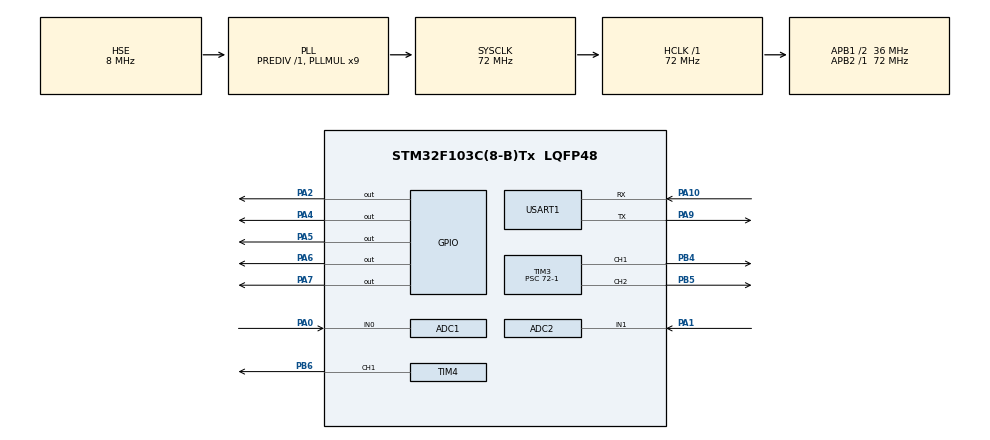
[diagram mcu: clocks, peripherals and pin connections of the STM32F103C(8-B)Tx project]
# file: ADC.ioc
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ADC1.Channel-0\#ChannelRegularConversion=ADC_CHANNEL_0
ADC1.NbrOfConversionFlag=1
ADC1.Rank-0\#ChannelRegularConversion=1
ADC1.SamplingTime-0\#ChannelRegularConversion=ADC_SAMPLETIME_1CYCLE_5
ADC1.master=1
ADC2.Channel-0\#ChannelRegularConversion=ADC_CHANNEL_1
ADC2.NbrOfConversionFlag=1
ADC2.Rank-0\#ChannelRegularConversion=1
ADC2.SamplingTime-0\#ChannelRegularConversion=ADC_SAMPLETIME_1CYCLE_5
Mcu.Family=STM32F1
Mcu.Name=STM32F103C(8-B)Tx
Mcu.Package=LQFP48
NVIC.PriorityGroup=NVIC_PRIORITYGROUP_4
NVIC.TIM2_IRQn=true\:0\:0\:false\:false\:true\:true\:true\:true
NVIC.TIM3_IRQn=true\:0\:0\:false\:false\:true\:true\:true\:true
PA0-WKUP.Signal=ADCx_IN0
PA1.Signal=ADCx_IN1
PA10.Mode=Asynchronous
PA10.Signal=USART1_RX
PA13.Mode=Serial_Wire
PA13.Signal=SYS_JTMS-SWDIO
PA14.Mode=Serial_Wire
PA14.Signal=SYS_JTCK-SWCLK
PA2.PinState=GPIO_PIN_SET
PA2.Signal=GPIO_Output
PA4.PinState=GPIO_PIN_SET
PA4.Signal=GPIO_Output
PA5.PinState=GPIO_PIN_SET
PA5.Signal=GPIO_Output
PA6.PinState=GPIO_PIN_SET
PA6.Signal=GPIO_Output
PA7.PinState=GPIO_PIN_SET
PA7.Signal=GPIO_Output
PA9.Mode=Asynchronous
PA9.Signal=USART1_TX
PB4.Signal=S_TIM3_CH1
PB5.Signal=S_TIM3_CH2
PB6.Signal=S_TIM4_CH1
PD0-OSC_IN.Mode=HSE-External-Oscillator
PD0-OSC_IN.Signal=RCC_OSC_IN
PD1-OSC_OUT.Mode=HSE-External-Oscillator
PD1-OSC_OUT.Signal=RCC_OSC_OUT
ProjectManager.HeapSize=0x200
ProjectManager.StackSize=0x400
ProjectManager.TargetToolchain=MDK-ARM V5.32
RCC.ADCPresc=RCC_ADCPCLK2_DIV6
RCC.AHBFreq_Value=72000000
RCC.APB1CLKDivider=RCC_HCLK_DIV2
RCC.APB1Freq_Value=36000000
RCC.APB1TimFreq_Value=72000000
RCC.APB2Freq_Value=72000000
RCC.APB2TimFreq_Value=72000000
RCC.HCLKFreq_Value=72000000
RCC.PLLMUL=RCC_PLL_MUL9
RCC.PLLSourceVirtual=RCC_PLLSOURCE_HSE
RCC.SYSCLKFreq_VALUE=72000000
RCC.SYSCLKSource=RCC_SYSCLKSOURCE_PLLCLK
RCC.USBFreq_Value=72000000
SH.ADCx_IN0.0=ADC1_IN0,IN0
SH.ADCx_IN1.0=ADC2_IN1,IN1
SH.S_TIM3_CH1.0=TIM3_CH1,PWM Generation1 CH1
SH.S_TIM3_CH2.0=TIM3_CH2,PWM Generation2 CH2
SH.S_TIM4_CH1.0=TIM4_CH1,PWM Generation1 CH1
TIM2.Period=800-1
TIM2.Prescaler=72-1
TIM3.Channel-PWM\ Generation1\ CH1=TIM_CHANNEL_1
TIM3.Channel-PWM\ Generation2\ CH2=TIM_CHANNEL_2
TIM3.Period=800-1
TIM3.Prescaler=72-1
TIM4.Channel-PWM\ Generation1\ CH1=TIM_CHANNEL_1
TIM4.Period=800-1
TIM4.Prescaler=72-1
USART1.VirtualMode=VM_ASYNC
VP_TIM2_VS_ClockSourceINT.Mode=Internal
board=custom

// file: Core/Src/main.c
/* USER CODE BEGIN Header */
/**
  ******************************************************************************
  * @file           : main.c
  * @brief          : Main program body
  ******************************************************************************
  * @attention
  *
  * Copyright (c) 2024 STMicroelectronics.
  * All rights reserved.
  *
  * This software is licensed under terms that can be found in the LICENSE file
  * in the root directory of this software component.
  * If no LICENSE file comes with this software, it is provided AS-IS.
  *
  ******************************************************************************
  */
/* USER CODE END Header */
#include "main.h"
#include "adc.h"
#include "tim.h"
#include "usart.h"
#include "gpio.h"

/* USER CODE BEGIN Includes */
#include "my_lib.h"
int QuanShu;
int ITjishu;
uint16_t ADC1_number = 0;
uint16_t ADC2_number = 0;
/* USER CODE END Includes */

/* USER CODE BEGIN PTD */
int fputc(int ch, FILE *f){
HAL_UART_Transmit (&huart1,(uint8_t *)&ch,1,0xffff);
	return ch;
}
/* USER CODE END PTD */

void SystemClock_Config(void);

/* USER CODE BEGIN 0 */
#include <stdio.h>
/* USER CODE END 0 */

int main(void)
{

  /* MCU Configuration--------------------------------------------------------*/

  /* Reset of all peripherals, Initializes the Flash interface and the Systick. */
  HAL_Init();

  /* Configure the system clock */
  SystemClock_Config();

  /* Initialize all configured peripherals */
  MX_GPIO_Init();
  MX_ADC1_Init();
  MX_ADC2_Init();
  MX_USART1_UART_Init();
  MX_TIM2_Init();
  MX_TIM3_Init();
  MX_TIM4_Init();
  /* USER CODE BEGIN 2 */

	HAL_TIM_Base_Start_IT(&htim4);//启动定时器中断
	HAL_TIM_Base_Start_IT(&htim3);//启动定时器中断
	HAL_TIM_PWM_Start(&htim4,TIM_CHANNEL_1);//启动定时器中断
	HAL_TIM_PWM_Start(&htim3,TIM_CHANNEL_1);//启动定时器中断
	__HAL_TIM_SetAutoreload(&htim4,800);		//设置速度快慢
	__HAL_TIM_SetAutoreload(&htim3,800);		//设置速度快慢
	__HAL_TIM_SetCompare(&htim4, TIM_CHANNEL_1, 250);//设置脉冲  用不到
	__HAL_TIM_SetCompare(&htim3, TIM_CHANNEL_1, 250);//设置脉冲  用不到
  /* USER CODE END 2 */

  /* Infinite loop */
  /* USER CODE BEGIN WHILE */
  while (1)
  {
		HAL_ADC_Start(&hadc1);
		HAL_ADC_PollForConversion(&hadc1,HAL_MAX_DELAY);
		ADC1_number = (uint16_t)HAL_ADC_GetValue(&hadc1);

		HAL_ADC_Start(&hadc2);
		HAL_ADC_PollForConversion(&hadc2,HAL_MAX_DELAY);
		ADC2_number = (uint16_t)HAL_ADC_GetValue(&hadc2);

//		if(ADC1_number >= 2248 && ADC1_number <= 4095 && ADC2_number )
//		{
//			dianji1_kongzhi(up,250,800);
//		}
//		else if(ADC1_number >= 0 && ADC1_number <= 1848)
//		{
//			dianji1_kongzhi(down,250,800);
//		}
//		else if(ADC1_number < 2248 && ADC1_number > 1848)
//		{
//			dianji1_kongzhi(up,0,0);
//		}
//		if(ADC2_number >= 2248 && ADC2_number <= 4095)
//		{
//			dianji2_kongzhi(up,250,800);
//		}
//		else if(ADC2_number >= 0 && ADC2_number <= 1848)
//		{
//			dianji2_kongzhi(down,250,800);
//		}
//		else if(ADC2_number < 2248 && ADC2_number > 1848)
//		{
//			dianji2_kongzhi(down,0,0);
//		}
/*
 *规定up是顺时针，down是逆时针
 */
		if(ADC1_number >= 3500 && ADC1_number <= 3650 && ADC2_number >= 1750 && ADC2_number <= 1870)//左
		{
			dianji1_kongzhi(up,700,800);//中间值为速度，值越大速度越小
			dianji2_kongzhi(up,700,800);
		}
		else if(ADC1_number >= 1700 && ADC1_number <= 1800 && ADC2_number >= 3400 && ADC2_number <= 3650)//下
		{
			dianji1_kongzhi(down,700,800);
			dianji2_kongzhi(up,700,800);
		}
		else if(ADC1_number >= 1700 && ADC1_number <= 1800 && ADC2_number == 0)//上
		{
			dianji1_kongzhi(up,700,800);
			dianji2_kongzhi(down,700,800);
		}
		else if(ADC1_number == 0 && ADC2_number >= 1720 && ADC2_number <= 1850)//右
		{
			dianji1_kongzhi(down,700,800);
			dianji2_kongzhi(down,700,800);
		}
		else if(ADC1_number >= 1700 && ADC1_number <= 1800 && ADC2_number >= 1720 && ADC2_number <= 1850)//停止
		{
			dianji1_kongzhi(up,0,800);
			dianji2_kongzhi(down,0,800);
		}

    /* USER CODE END WHILE */

  }
}

void SystemClock_Config(void)
{
  RCC_OscInitTypeDef RCC_OscInitStruct = {0};
  RCC_ClkInitTypeDef RCC_ClkInitStruct = {0};
  RCC_PeriphCLKInitTypeDef PeriphClkInit = {0};

  /** Initializes the RCC Oscillators according to the specified parameters
  * in the RCC_OscInitTypeDef structure.
  */
  RCC_OscInitStruct.OscillatorType = RCC_OSCILLATORTYPE_HSE;
  RCC_OscInitStruct.HSEState = RCC_HSE_ON;
  RCC_OscInitStruct.HSEPredivValue = RCC_HSE_PREDIV_DIV1;
  RCC_OscInitStruct.HSIState = RCC_HSI_ON;
  RCC_OscInitStruct.PLL.PLLState = RCC_PLL_ON;
  RCC_OscInitStruct.PLL.PLLSource = RCC_PLLSOURCE_HSE;
  RCC_OscInitStruct.PLL.PLLMUL = RCC_PLL_MUL9;
  if (HAL_RCC_OscConfig(&RCC_OscInitStruct) != HAL_OK)
  {
    Error_Handler();
  }

  /** Initializes the CPU, AHB and APB buses clocks
  */
  RCC_ClkInitStruct.ClockType = RCC_CLOCKTYPE_HCLK|RCC_CLOCKTYPE_SYSCLK
                              |RCC_CLOCKTYPE_PCLK1|RCC_CLOCKTYPE_PCLK2;
  RCC_ClkInitStruct.SYSCLKSource = RCC_SYSCLKSOURCE_PLLCLK;
  RCC_ClkInitStruct.AHBCLKDivider = RCC_SYSCLK_DIV1;
  RCC_ClkInitStruct.APB1CLKDivider = RCC_HCLK_DIV2;
  RCC_ClkInitStruct.APB2CLKDivider = RCC_HCLK_DIV1;

  if (HAL_RCC_ClockConfig(&RCC_ClkInitStruct, FLASH_LATENCY_2) != HAL_OK)
  {
    Error_Handler();
  }
  PeriphClkInit.PeriphClockSelection = RCC_PERIPHCLK_ADC;
  PeriphClkInit.AdcClockSelection = RCC_ADCPCLK2_DIV6;
  if (HAL_RCCEx_PeriphCLKConfig(&PeriphClkInit) != HAL_OK)
  {
    Error_Handler();
  }
}

void Error_Handler(void)
{
  __disable_irq();
  while (1)
  {
  }
}
